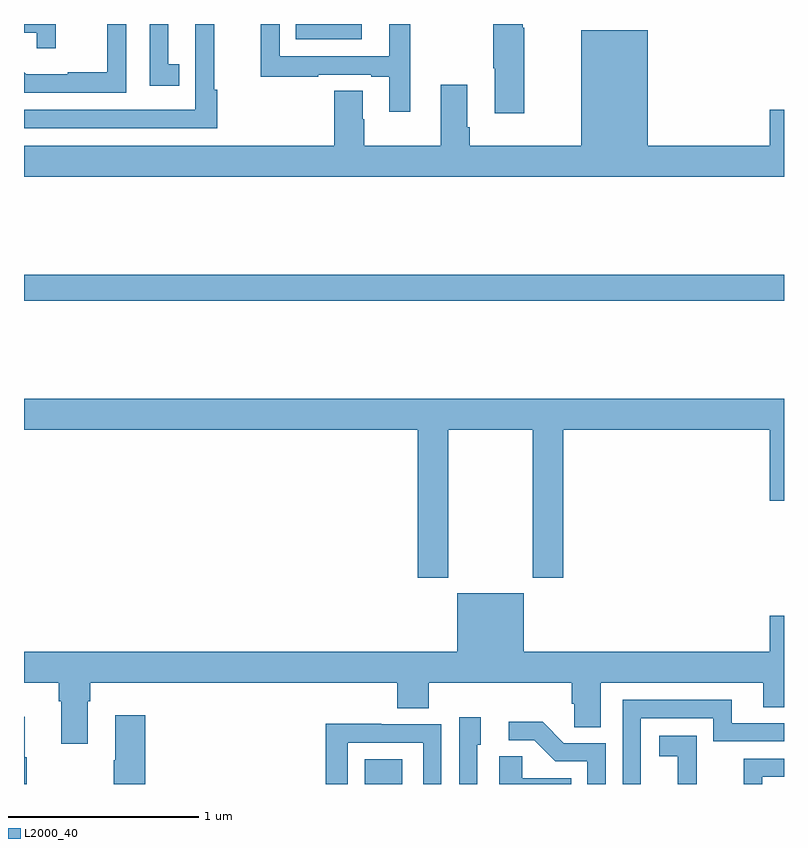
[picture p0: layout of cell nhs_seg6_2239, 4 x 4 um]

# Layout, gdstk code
import gdstk
lib = gdstk.Library(unit=1e-6, precision=1e-09)
def R(c, l, rs):  # rectangles x0, y0, x1, y1
    for r in rs: c.add(gdstk.rectangle(r[:2], r[2:], *l))
def P(c, l, *ps):  # polygons
    for p in ps: c.add(gdstk.Polygon(p, *l))
L2000_40 = (2000, 40)

nhs_seg6_2239 = lib.new_cell('nhs_seg6_2239')
R(nhs_seg6_2239, L2000_40, [(246.794,917.5,246.991,917.629), (245,920.044,249,920.18), (246.43,921.419,246.778,921.5)])
P(nhs_seg6_2239, L2000_40, [(245.538,921.5),(245.437,921.5),(245.437,921.247),(245.231,921.247),(245.231,921.235),(245.012,921.235),(245,921.247),(245,921.138),(245.538,921.138)],
  [(245.816,921.287),(245.758,921.287),(245.758,921.5),(245.661,921.5),(245.661,921.174),(245.816,921.174)],
  [(247.632,921.479),(247.624,921.479),(247.624,921.5),(247.471,921.5),(247.471,921.268),(247.478,921.268),(247.478,921.03),(247.632,921.03)],
  [(247.033,921.5),(246.923,921.5),(246.923,921.33),(246.345,921.33),(246.345,921.5),(246.247,921.5),(246.247,921.222),(246.548,921.222),(246.548,921.234),(246.827,921.234),(246.827,921.222),(246.923,921.222),(246.923,921.039),(247.033,921.039)],
  [(245.168,921.5),(245,921.5),(245,921.453),(245.067,921.453),(245.067,921.372),(245.168,921.372)],
  [(246.017,921.155),(246,921.155),(246,921.5),(245.9,921.5),(245.9,921.376),(245.901,921.376),(245.901,921.048),(245,921.048),(245,920.952),(246.017,920.952)],
  [(249,921.049),(248.924,921.049),(248.924,920.86),(248.284,920.86),(248.284,921.466),(247.934,921.466),(247.934,920.86),(247.346,920.86),(247.346,920.956),(247.333,920.956),(247.333,921.181),(247.193,921.181),(247.193,920.86),(246.792,920.86),(246.792,920.999),(246.784,920.999),(246.784,921.149),(246.632,921.149),(246.632,920.86),(245,920.86),(245,920.696),(249,920.696)],
  [(247.233,919.364),(247.678,919.364),(247.678,918.585),(247.838,918.585),(247.838,919.364),(248.924,919.364),(248.924,918.99),(249,918.99),(249,919.528),(245,919.528),(245,919.364),(247.073,919.364),(247.073,918.585),(247.233,918.585)],
  [(245.335,917.936),(245.348,917.936),(245.348,918.032),(246.965,918.032),(246.965,917.899),(247.13,917.899),(247.13,918.032),(247.883,918.032),(247.883,917.923),(247.896,917.923),(247.896,917.8),(248.035,917.8),(248.035,918.032),(248.891,918.032),(248.891,917.905),(249,917.905),(249,918.385),(248.924,918.385),(248.924,918.196),(247.63,918.196),(247.63,918.505),(247.28,918.505),(247.28,918.196),(245,918.196),(245,918.032),(245.183,918.032),(245.183,917.936),(245.195,917.936),(245.195,917.712),(245.335,917.712)],
  [(248.247,917.847),(248.628,917.847),(248.628,917.724),(249,917.724),(249,917.82),(248.725,917.82),(248.725,917.943),(248.151,917.943),(248.151,917.5),(248.247,917.5)],
  [(245.639,917.863),(245.48,917.863),(245.48,917.624),(245.473,917.624),(245.473,917.5),(245.639,917.5)],
  [(245.014,917.641),(245.003,917.641),(245.003,917.854),(245,917.854),(245,917.5),(245.014,917.5)],
  [(247.386,917.706),(247.405,917.706),(247.405,917.851),(247.29,917.851),(247.29,917.5),(247.386,917.5)],
  [(248.061,917.715),(247.842,917.715),(247.729,917.828),(247.551,917.828),(247.551,917.73),(247.685,917.73),(247.796,917.619),(247.965,917.619),(247.965,917.5),(248.061,917.5)],
  [(246.705,917.718),(247.101,917.718),(247.101,917.5),(247.197,917.5),(247.197,917.814),(246.881,917.814),(246.881,917.816),(246.589,917.816),(246.589,917.5),(246.705,917.5)],
  [(248.54,917.549),(248.541,917.549),(248.541,917.755),(248.343,917.755),(248.343,917.645),(248.441,917.645),(248.441,917.5),(248.54,917.5)],
  [(247.88,917.53),(247.623,917.53),(247.623,917.645),(247.502,917.645),(247.502,917.5),(247.88,917.5)],
  [(248.886,917.538),(249,917.538),(249,917.634),(248.788,917.634),(248.788,917.5),(248.886,917.5)])

lib.write_gds('nhs_seg6_2239.gds')
